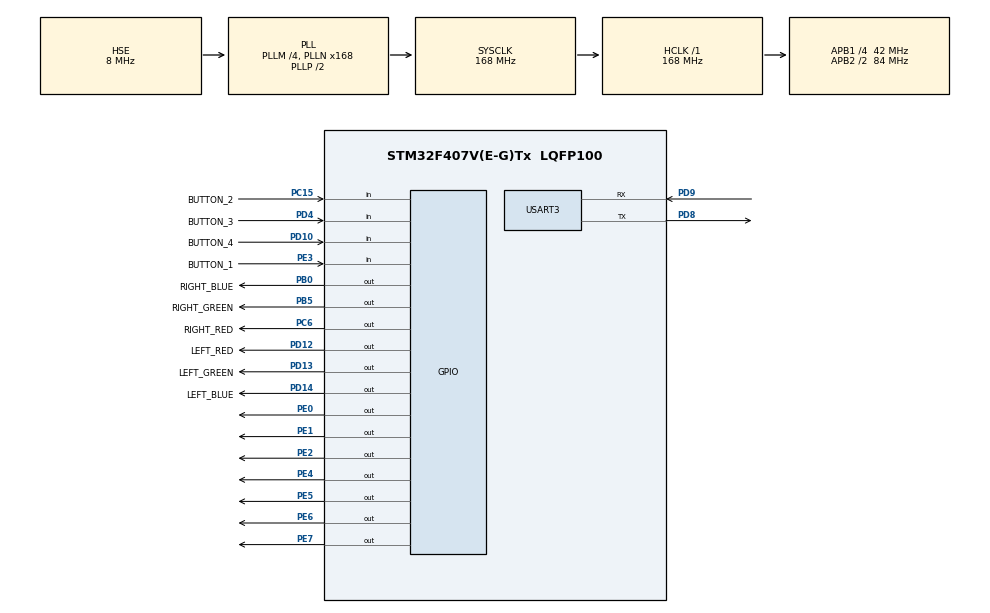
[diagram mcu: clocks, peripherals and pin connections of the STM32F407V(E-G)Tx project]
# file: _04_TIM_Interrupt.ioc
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Mcu.Family=STM32F4
Mcu.Name=STM32F407V(E-G)Tx
Mcu.Package=LQFP100
NVIC.PriorityGroup=NVIC_PRIORITYGROUP_4
NVIC.TIM7_IRQn=true\:0\:0\:false\:true\:true\:2\:true\:true\:true
NVIC.USART3_IRQn=true\:0\:0\:false\:true\:true\:1\:true\:true\:true
PB0.GPIO_Label=RIGHT_BLUE
PB0.PinState=GPIO_PIN_SET
PB0.Signal=GPIO_Output
PB5.GPIO_Label=RIGHT_GREEN
PB5.PinState=GPIO_PIN_SET
PB5.Signal=GPIO_Output
PC15-OSC32_OUT.GPIO_Label=BUTTON_2
PC15-OSC32_OUT.Signal=GPIO_Input
PC6.GPIO_Label=RIGHT_RED
PC6.PinState=GPIO_PIN_SET
PC6.Signal=GPIO_Output
PD10.GPIO_Label=BUTTON_4
PD10.Signal=GPIO_Input
PD12.GPIO_Label=LEFT_RED
PD12.PinState=GPIO_PIN_SET
PD12.Signal=GPIO_Output
PD13.GPIO_Label=LEFT_GREEN
PD13.PinState=GPIO_PIN_SET
PD13.Signal=GPIO_Output
PD14.GPIO_Label=LEFT_BLUE
PD14.PinState=GPIO_PIN_SET
PD14.Signal=GPIO_Output
PD4.GPIO_Label=BUTTON_3
PD4.Signal=GPIO_Input
PD8.Mode=Asynchronous
PD8.Signal=USART3_TX
PD9.Mode=Asynchronous
PD9.Signal=USART3_RX
PE0.Signal=GPIO_Output
PE1.Signal=GPIO_Output
PE2.Signal=GPIO_Output
PE3.GPIO_Label=BUTTON_1
PE3.Signal=GPIO_Input
PE4.Signal=GPIO_Output
PE5.Signal=GPIO_Output
PE6.Signal=GPIO_Output
PE7.Signal=GPIO_Output
PH0-OSC_IN.Mode=HSE-External-Oscillator
PH0-OSC_IN.Signal=RCC_OSC_IN
PH1-OSC_OUT.Mode=HSE-External-Oscillator
PH1-OSC_OUT.Signal=RCC_OSC_OUT
ProjectManager.HeapSize=0x200
ProjectManager.StackSize=0x400
ProjectManager.TargetToolchain=STM32CubeIDE
RCC.48MHZClocksFreq_Value=84000000
RCC.AHBFreq_Value=168000000
RCC.APB1CLKDivider=RCC_HCLK_DIV4
RCC.APB1Freq_Value=42000000
RCC.APB1TimFreq_Value=84000000
RCC.APB2CLKDivider=RCC_HCLK_DIV2
RCC.APB2Freq_Value=84000000
RCC.APB2TimFreq_Value=168000000
RCC.CortexFreq_Value=168000000
RCC.HCLKFreq_Value=168000000
RCC.HSE_VALUE=8000000
RCC.HSI_VALUE=16000000
RCC.LSE_VALUE=32768
RCC.PLLM=4
RCC.PLLN=168
RCC.PLLSourceVirtual=RCC_PLLSOURCE_HSE
RCC.SYSCLKFreq_VALUE=168000000
RCC.SYSCLKSource=RCC_SYSCLKSOURCE_PLLCLK
RCC.VCOOutputFreq_Value=336000000
TIM7.Period=8400 - 1
TIM7.Prescaler=10000 - 1
USART3.VirtualMode=VM_ASYNC
VP_TIM7_VS_ClockSourceINT.Mode=Enable_Timer
board=custom

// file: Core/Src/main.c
/* USER CODE BEGIN Header */
/**
  ******************************************************************************
  * @file           : main.c
  * @brief          : Main program body
  ******************************************************************************
  * @attention
  *
  * Copyright (c) 2025 STMicroelectronics.
  * All rights reserved.
  *
  * This software is licensed under terms that can be found in the LICENSE file
  * in the root directory of this software component.
  * If no LICENSE file comes with this software, it is provided AS-IS.
  *
  ******************************************************************************
  */
/* USER CODE END Header */
#include "main.h"

/* USER CODE BEGIN Includes */
#include <stdio.h>
#include "button.h"
#include "led.h"
#include "uart.h"
#include "lcd.h"
/* USER CODE END Includes */

TIM_HandleTypeDef htim7;

UART_HandleTypeDef huart3;

void SystemClock_Config(void);
static void MX_GPIO_Init(void);
static void MX_USART3_UART_Init(void);
static void MX_TIM7_Init(void);
static void MX_NVIC_Init(void);

int main(void)
{

  /* MCU Configuration--------------------------------------------------------*/

  /* Reset of all peripherals, Initializes the Flash interface and the Systick. */
  HAL_Init();

  /* USER CODE BEGIN Init */
  CLCD_GPIO_Init();
  CLCD_Init();
  /* USER CODE END Init */

  /* Configure the system clock */
  SystemClock_Config();

  /* Initialize all configured peripherals */
  MX_GPIO_Init();
  MX_USART3_UART_Init();
  MX_TIM7_Init();

  /* Initialize interrupts */
  MX_NVIC_Init();
  /* USER CODE BEGIN 2 */
  HAL_TIM_Base_Start_IT(&htim7);
  /* USER CODE END 2 */

  /* Infinite loop */
  /* USER CODE BEGIN WHILE */

  receive_data();

  while (1)
  {
//	  static uint8_t count;
//	  operate_lcd_top("%03d", count++);
//	  HAL_Delay(1000);

    /* USER CODE END WHILE */

  }
}

void SystemClock_Config(void)
{
  RCC_OscInitTypeDef RCC_OscInitStruct = {0};
  RCC_ClkInitTypeDef RCC_ClkInitStruct = {0};

  /** Configure the main internal regulator output voltage
  */
  __HAL_RCC_PWR_CLK_ENABLE();
  __HAL_PWR_VOLTAGESCALING_CONFIG(PWR_REGULATOR_VOLTAGE_SCALE1);

  /** Initializes the RCC Oscillators according to the specified parameters
  * in the RCC_OscInitTypeDef structure.
  */
  RCC_OscInitStruct.OscillatorType = RCC_OSCILLATORTYPE_HSE;
  RCC_OscInitStruct.HSEState = RCC_HSE_ON;
  RCC_OscInitStruct.PLL.PLLState = RCC_PLL_ON;
  RCC_OscInitStruct.PLL.PLLSource = RCC_PLLSOURCE_HSE;
  RCC_OscInitStruct.PLL.PLLM = 4;
  RCC_OscInitStruct.PLL.PLLN = 168;
  RCC_OscInitStruct.PLL.PLLP = RCC_PLLP_DIV2;
  RCC_OscInitStruct.PLL.PLLQ = 4;
  if (HAL_RCC_OscConfig(&RCC_OscInitStruct) != HAL_OK)
  {
    Error_Handler();
  }

  /** Initializes the CPU, AHB and APB buses clocks
  */
  RCC_ClkInitStruct.ClockType = RCC_CLOCKTYPE_HCLK|RCC_CLOCKTYPE_SYSCLK
                              |RCC_CLOCKTYPE_PCLK1|RCC_CLOCKTYPE_PCLK2;
  RCC_ClkInitStruct.SYSCLKSource = RCC_SYSCLKSOURCE_PLLCLK;
  RCC_ClkInitStruct.AHBCLKDivider = RCC_SYSCLK_DIV1;
  RCC_ClkInitStruct.APB1CLKDivider = RCC_HCLK_DIV4;
  RCC_ClkInitStruct.APB2CLKDivider = RCC_HCLK_DIV2;

  if (HAL_RCC_ClockConfig(&RCC_ClkInitStruct, FLASH_LATENCY_5) != HAL_OK)
  {
    Error_Handler();
  }
}

/**
  * @brief NVIC Configuration.
  * @retval None
  */
static void MX_NVIC_Init(void)
{
  /* USART3_IRQn interrupt configuration */
  HAL_NVIC_SetPriority(USART3_IRQn, 0, 0);
  HAL_NVIC_EnableIRQ(USART3_IRQn);
  /* TIM7_IRQn interrupt configuration */
  HAL_NVIC_SetPriority(TIM7_IRQn, 0, 0);
  HAL_NVIC_EnableIRQ(TIM7_IRQn);
}

static void MX_TIM7_Init(void)
{

  TIM_MasterConfigTypeDef sMasterConfig = {0};

  htim7.Instance = TIM7;
  htim7.Init.Prescaler = 10000 - 1;
  htim7.Init.CounterMode = TIM_COUNTERMODE_UP;
  htim7.Init.Period = 8400 - 1;
  htim7.Init.AutoReloadPreload = TIM_AUTORELOAD_PRELOAD_DISABLE;
  if (HAL_TIM_Base_Init(&htim7) != HAL_OK)
  {
    Error_Handler();
  }
  sMasterConfig.MasterOutputTrigger = TIM_TRGO_RESET;
  sMasterConfig.MasterSlaveMode = TIM_MASTERSLAVEMODE_DISABLE;
  if (HAL_TIMEx_MasterConfigSynchronization(&htim7, &sMasterConfig) != HAL_OK)
  {
    Error_Handler();
  }

}

static void MX_USART3_UART_Init(void)
{

  huart3.Instance = USART3;
  huart3.Init.BaudRate = 115200;
  huart3.Init.WordLength = UART_WORDLENGTH_8B;
  huart3.Init.StopBits = UART_STOPBITS_1;
  huart3.Init.Parity = UART_PARITY_NONE;
  huart3.Init.Mode = UART_MODE_TX_RX;
  huart3.Init.HwFlowCtl = UART_HWCONTROL_NONE;
  huart3.Init.OverSampling = UART_OVERSAMPLING_16;
  if (HAL_UART_Init(&huart3) != HAL_OK)
  {
    Error_Handler();
  }

}

static void MX_GPIO_Init(void)
{
  GPIO_InitTypeDef GPIO_InitStruct = {0};

  /* GPIO Ports Clock Enable */
  __HAL_RCC_GPIOE_CLK_ENABLE();
  __HAL_RCC_GPIOC_CLK_ENABLE();
  __HAL_RCC_GPIOH_CLK_ENABLE();
  __HAL_RCC_GPIOB_CLK_ENABLE();
  __HAL_RCC_GPIOD_CLK_ENABLE();

  /*Configure GPIO pin Output Level */
  HAL_GPIO_WritePin(GPIOE, GPIO_PIN_2|GPIO_PIN_4|GPIO_PIN_5|GPIO_PIN_6
                          |GPIO_PIN_7|GPIO_PIN_0|GPIO_PIN_1, GPIO_PIN_RESET);

  /*Configure GPIO pin Output Level */
  HAL_GPIO_WritePin(GPIOB, RIGHT_BLUE_Pin|RIGHT_GREEN_Pin, GPIO_PIN_SET);

  /*Configure GPIO pin Output Level */
  HAL_GPIO_WritePin(GPIOD, LEFT_RED_Pin|LEFT_GREEN_Pin|LEFT_BLUE_Pin, GPIO_PIN_SET);

  /*Configure GPIO pin Output Level */
  HAL_GPIO_WritePin(RIGHT_RED_GPIO_Port, RIGHT_RED_Pin, GPIO_PIN_SET);

  /*Configure GPIO pins : PE2 PE4 PE5 PE6
                           PE7 PE0 PE1 */
  GPIO_InitStruct.Pin = GPIO_PIN_2|GPIO_PIN_4|GPIO_PIN_5|GPIO_PIN_6
                          |GPIO_PIN_7|GPIO_PIN_0|GPIO_PIN_1;
  GPIO_InitStruct.Mode = GPIO_MODE_OUTPUT_PP;
  GPIO_InitStruct.Pull = GPIO_NOPULL;
  GPIO_InitStruct.Speed = GPIO_SPEED_FREQ_LOW;
  HAL_GPIO_Init(GPIOE, &GPIO_InitStruct);

  /*Configure GPIO pin : BUTTON_1_Pin */
  GPIO_InitStruct.Pin = BUTTON_1_Pin;
  GPIO_InitStruct.Mode = GPIO_MODE_INPUT;
  GPIO_InitStruct.Pull = GPIO_NOPULL;
  HAL_GPIO_Init(BUTTON_1_GPIO_Port, &GPIO_InitStruct);

  /*Configure GPIO pin : BUTTON_2_Pin */
  GPIO_InitStruct.Pin = BUTTON_2_Pin;
  GPIO_InitStruct.Mode = GPIO_MODE_INPUT;
  GPIO_InitStruct.Pull = GPIO_NOPULL;
  HAL_GPIO_Init(BUTTON_2_GPIO_Port, &GPIO_InitStruct);

  /*Configure GPIO pins : RIGHT_BLUE_Pin RIGHT_GREEN_Pin */
  GPIO_InitStruct.Pin = RIGHT_BLUE_Pin|RIGHT_GREEN_Pin;
  GPIO_InitStruct.Mode = GPIO_MODE_OUTPUT_PP;
  GPIO_InitStruct.Pull = GPIO_NOPULL;
  GPIO_InitStruct.Speed = GPIO_SPEED_FREQ_LOW;
  HAL_GPIO_Init(GPIOB, &GPIO_InitStruct);

  /*Configure GPIO pins : BUTTON_4_Pin BUTTON_3_Pin */
  GPIO_InitStruct.Pin = BUTTON_4_Pin|BUTTON_3_Pin;
  GPIO_InitStruct.Mode = GPIO_MODE_INPUT;
  GPIO_InitStruct.Pull = GPIO_NOPULL;
  HAL_GPIO_Init(GPIOD, &GPIO_InitStruct);

  /*Configure GPIO pins : LEFT_RED_Pin LEFT_GREEN_Pin LEFT_BLUE_Pin */
  GPIO_InitStruct.Pin = LEFT_RED_Pin|LEFT_GREEN_Pin|LEFT_BLUE_Pin;
  GPIO_InitStruct.Mode = GPIO_MODE_OUTPUT_PP;
  GPIO_InitStruct.Pull = GPIO_NOPULL;
  GPIO_InitStruct.Speed = GPIO_SPEED_FREQ_LOW;
  HAL_GPIO_Init(GPIOD, &GPIO_InitStruct);

  /*Configure GPIO pin : RIGHT_RED_Pin */
  GPIO_InitStruct.Pin = RIGHT_RED_Pin;
  GPIO_InitStruct.Mode = GPIO_MODE_OUTPUT_PP;
  GPIO_InitStruct.Pull = GPIO_NOPULL;
  GPIO_InitStruct.Speed = GPIO_SPEED_FREQ_LOW;
  HAL_GPIO_Init(RIGHT_RED_GPIO_Port, &GPIO_InitStruct);

}

/* USER CODE BEGIN 4 */
int _write(int file, char *ptr, int len)
{
	HAL_UART_Transmit(&huart3, (const uint8_t*) ptr, len, 100);

	return len;
}

void HAL_UART_RxCpltCallback(UART_HandleTypeDef *huart)
{
	if (huart->Instance == USART3)
	{
		if (receive_data() == HAL_OK)
		{
			transmit_data();
		}
	}
}

void HAL_TIM_PeriodElapsedCallback(TIM_HandleTypeDef *htim)
{
	if (htim->Instance == TIM7)
	{
		HAL_GPIO_TogglePin(LEFT_RED_GPIO_Port, LEFT_RED_Pin);
	}
}
/* USER CODE END 4 */

void Error_Handler(void)
{
  __disable_irq();
  while (1)
  {
  }
}
